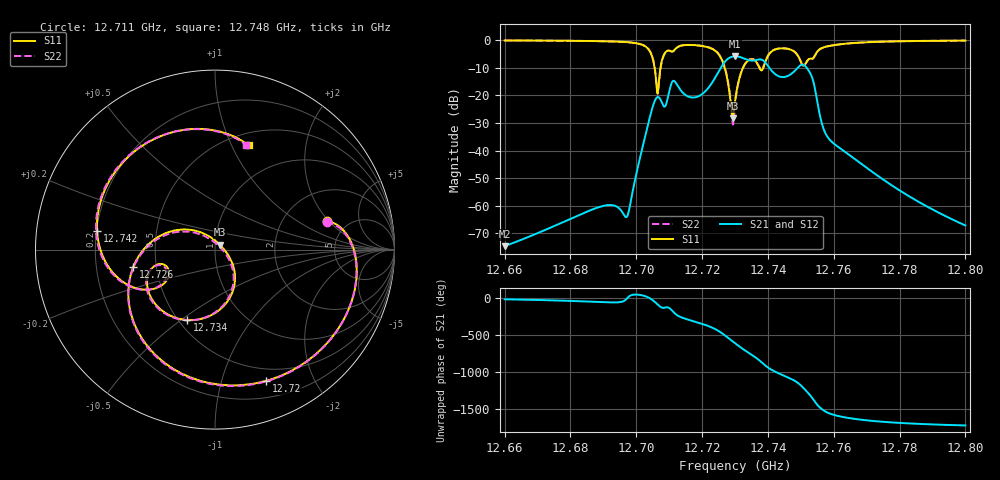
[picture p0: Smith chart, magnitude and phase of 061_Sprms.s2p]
! TOUCHSTONE file generated by CST MICROWAVE STUDIO
! Date and time: Wed Jul 31 13:46:17 2024
! Project name: WaveGuide_BPF-Ver4.1_U-shape_Ku_T3_C4_CWA_2.cst
! Parameters = {cavity_h=16; cavity_l0=10; cavity_l1=15.1798; cavity_l2=16.8186; cavity_l3=17.1255; cavity_l4=17.2614; cavity_l5=17.0943; cavity_l6=17.6072; cavity_r=2.5; cavity_screw_l=0.5; cavity_screw_r=1.5; cavity_w=8; iris_h00=0; iris_h01=8.8231; iris_h112=0; iris_h12=5.6037; iris_h211=3.6664; 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
! Header version: 2018
! Port assignment regex: !\s*Touchstone port\s*([0-9]+)\s*=\s*(CST MWS port|CST DS port)\s*([0-9]+|Zmin|Zmax)\s*\(\"(.*)\"\)(\s*mode\s*([0-9]+))?.*
! Touchstone port assignment:
! Touchstone port 1 = CST MWS port 1 ("")
! Touchstone port 2 = CST MWS port 2 ("")
# GHz S RI R 50
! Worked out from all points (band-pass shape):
!   5001 points, 12.66 GHz to 12.8 GHz, reference 50 ohm
!   highest |S21| = -5.89 dB at 12.73 GHz (marker M1); lowest = -74.6 dB at 12.66 GHz (marker M2)
!   |S21| within 3 dB of the highest: 12.72631 GHz to 12.73972 GHz (13.41 MHz wide, 0.105 % of centre); 12.75035 GHz to 12.75066 GHz (312.1 kHz wide, 0.00245 % of centre)
!   lowest |S11| = -28.4 dB at 12.729 GHz (marker M3), VSWR 1.08, Z = 52.7 + j2.85 ohm
!   |S11| at or under -10 dB: 12.70556 GHz to 12.70736 GHz (1.803 MHz wide, 0.0142 % of centre); 12.72686 GHz to 12.73245 GHz (5.596 MHz wide, 0.044 % of centre); 12.73738 GHz to 12.73861 GHz (1.227 MHz wide, 0.00964 % of centre)
!   |S22| runs from -30.7 to -0.1 dB; largest |S21 - S12| = 1e-09
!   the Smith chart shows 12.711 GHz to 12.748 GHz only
!   S11 on the Smith chart (normalised r, x): 12.711 GHz: 3.52, +1.90; 12.72 GHz: 0.37, -1.40; 12.726 GHz: 0.37, -0.09; 12.734 GHz: 0.55, -0.53; 12.742 GHz: 0.20, +0.07; 12.748 GHz: 0.63, +1.16
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12.66  0.2698 0.9453  0.000175 -6.27e-05  0.000175 -6.27e-05  0.2744 0.9439
12.68335  0.6502 0.7136  0.000486 -0.000519  0.000486 -0.000519  0.6551 0.709
12.69718  0.8955 0.1916  0.000631 -9.46e-05  0.000631 -9.46e-05  0.8974 0.184
12.70424  0.3995 -0.4588  0.0421 -0.00682  0.0421 -0.00682  0.4071 -0.464
12.70668  -0.0969 0.0893  -0.0138 -0.092  -0.0138 -0.092  -0.1006 0.0676
12.71141  0.6237 0.1583  -0.1758 0.0518  -0.1758 0.0518  0.6214 0.1531
12.71978  0.2838 -0.7314  0.0999 0.0242  0.0999 0.0242  0.2814 -0.7352
12.7258  -0.4555 -0.0971  -0.1025 -0.305  -0.1025 -0.305  -0.4617 -0.1194
12.7293  0.0269 0.027  -0.3449 0.3646  -0.3449 0.3646  0.013 0.0278
12.73  0.0713 -0.0276  -0.1718 0.4776  -0.1718 0.4776  0.0617 -0.0271
12.73011  0.0774 -0.0373  -0.1403 0.4879  -0.1403 0.4879  0.0682 -0.0371
12.73389  -0.1535 -0.3924  0.4273 -0.0897  0.4273 -0.0897  -0.1626 -0.3933
12.7365  -0.3712 -0.1387  0.00336 -0.4353  0.00336 -0.4353  -0.3767 -0.1432
12.73846  -0.2594 -0.1526  -0.4082 -0.1373  -0.4082 -0.1373  -0.2703 -0.1561
12.74193  -0.6569 0.1025  -0.0139 0.2493  -0.0139 0.2493  -0.6625 0.0974
12.74814  0.188 0.58  0.2259 -0.1597  0.2259 -0.1597  0.1703 0.5853
12.75139  0.2163 0.3039  -0.316 -0.1168  -0.316 -0.1168  0.2009 0.3082
12.75335  0.3792 0.2603  -0.0374 0.2132  -0.0374 0.2132  0.3654 0.2705
12.75727  0.7147 -0.2257  0.00255 -0.0217  0.00255 -0.0217  0.7152 -0.2105
12.76301  0.1429 -0.8403  -0.00947 -0.0028  -0.00947 -0.0028  0.1428 -0.8386
12.77668  -0.7949 -0.5053  -0.00158 0.00202  -0.00158 0.00202  -0.7989 -0.4992
12.8  -0.9647 0.1537  4.19e-05 0.000438  4.19e-05 0.000438  -0.9639 0.1593
